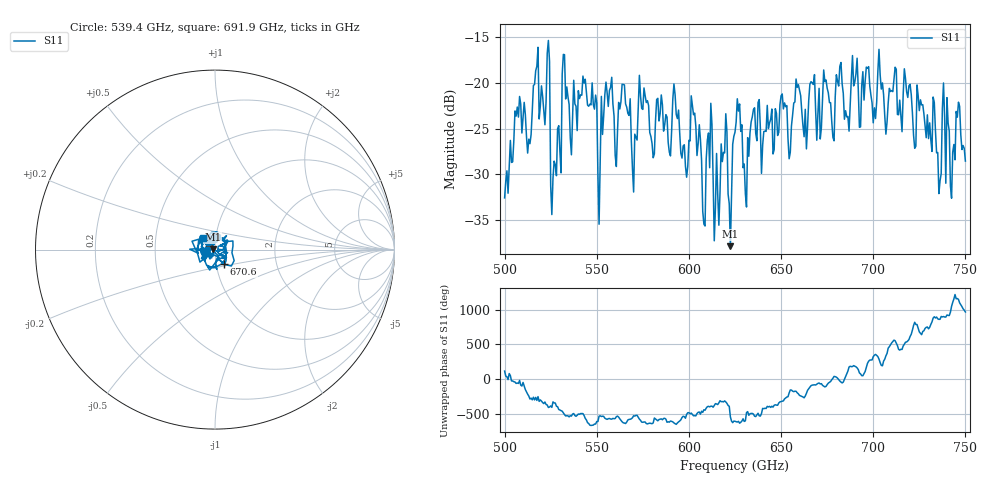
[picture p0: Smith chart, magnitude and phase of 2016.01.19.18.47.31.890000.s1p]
!Created with skrf (http://scikit-rf.org).
# GHz S RI R 50.0
!freq ReS11 ImS11
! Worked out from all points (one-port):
!   401 points, 500 GHz to 750 GHz, reference 50 ohm
!   lowest |S11| = -37.8 dB at 622.5 GHz (marker M1), VSWR 1.03, Z = 48.7 + j0.183 ohm
!   |S11| at or under -10 dB: start of sweep to end of sweep
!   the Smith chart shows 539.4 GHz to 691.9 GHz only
!   S11 on the Smith chart (normalised r, x): 539.4 GHz: 0.90, -0.03; 670.6 GHz: 1.09, -0.17; 691.9 GHz: 0.87, +0.11
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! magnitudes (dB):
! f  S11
! 500 GHz  -32.6
! 516.9 GHz  -18.7
! 523.1 GHz  -16.8
! 526.2 GHz  -30.4
! 531.2 GHz  -19.0
! 539.4 GHz  -25.2
! 548.8 GHz  -22.9
! 551.9 GHz  -28.3
! 555.6 GHz  -21.1
! 562.5 GHz  -22.9
! 570 GHz  -31.9
! 574.4 GHz  -22.8
! 593.8 GHz  -23.9
! 611.2 GHz  -29.3
! 615 GHz  -27.7
! 619.4 GHz  -27.6
! 622.5 GHz  -37.8
! 625 GHz  -25.4
! 630.6 GHz  -32.1
! 634.4 GHz  -23.7
! 656.2 GHz  -23.5
! 670.6 GHz  -20.6
! 687.5 GHz  -22.3
! 691.9 GHz  -20.7
! 718.8 GHz  -21.6
! 735.6 GHz  -32.1
! 738.8 GHz  -23.9
! 750 GHz  -28.5
